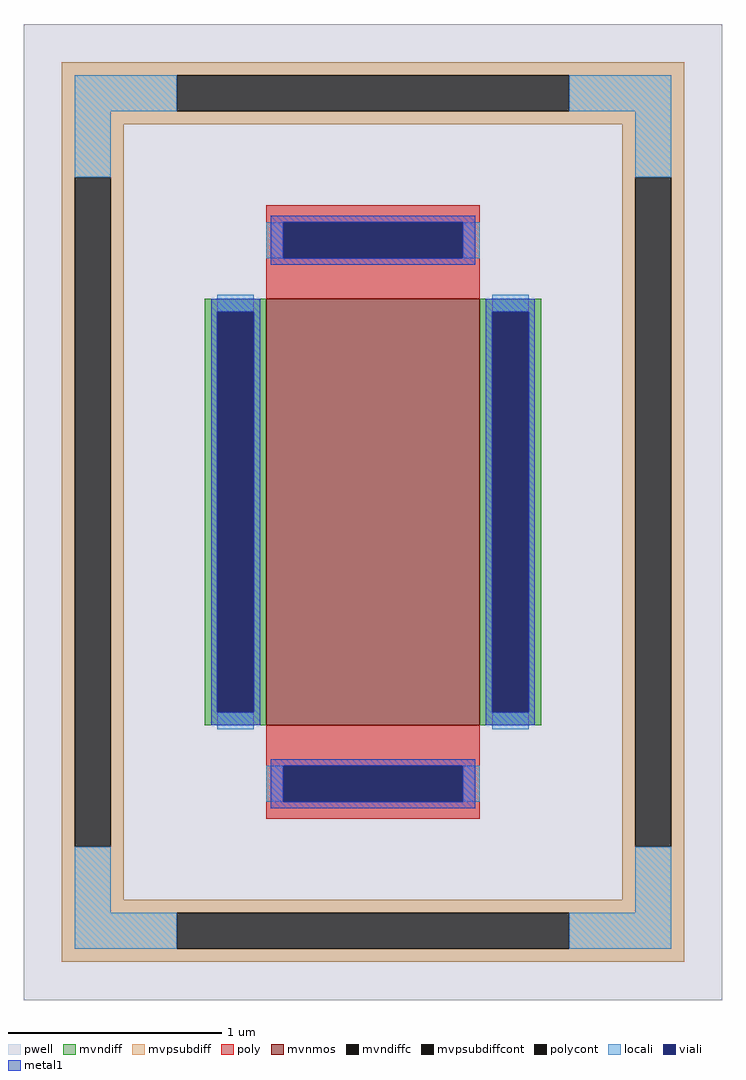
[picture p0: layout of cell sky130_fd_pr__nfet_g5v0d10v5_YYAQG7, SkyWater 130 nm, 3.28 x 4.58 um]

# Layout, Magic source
magic
tech sky130A
<< pwell >>
rect -164 -229 164 229
<< mvnmos >>
rect -50 -100 50 100
<< mvndiff >>
rect -79 94 -50 100
rect -79 -94 -73 94
rect -56 -94 -50 94
rect -79 -100 -50 -94
rect 50 94 79 100
rect 50 -94 56 94
rect 73 -94 79 94
rect 50 -100 79 -94
<< mvndiffc >>
rect -73 -94 -56 94
rect 56 -94 73 94
<< mvpsubdiff >>
rect -146 205 146 211
rect -146 188 -92 205
rect 92 188 146 205
rect -146 182 146 188
rect -146 157 -117 182
rect -146 -157 -140 157
rect -123 -157 -117 157
rect 117 157 146 182
rect -146 -182 -117 -157
rect 117 -157 123 157
rect 140 -157 146 157
rect 117 -182 146 -157
rect -146 -188 146 -182
rect -146 -205 -92 -188
rect 92 -205 146 -188
rect -146 -211 146 -205
<< mvpsubdiffcont >>
rect -92 188 92 205
rect -140 -157 -123 157
rect 123 -157 140 157
rect -92 -205 92 -188
<< poly >>
rect -50 136 50 144
rect -50 119 -42 136
rect 42 119 50 136
rect -50 100 50 119
rect -50 -119 50 -100
rect -50 -136 -42 -119
rect 42 -136 50 -119
rect -50 -144 50 -136
<< polycont >>
rect -42 119 42 136
rect -42 -136 42 -119
<< locali >>
rect -140 188 -92 205
rect 92 188 140 205
rect -140 157 -123 188
rect 123 157 140 188
rect -50 119 -42 136
rect 42 119 50 136
rect -73 94 -56 102
rect -73 -102 -56 -94
rect 56 94 73 102
rect 56 -102 73 -94
rect -50 -136 -42 -119
rect 42 -136 50 -119
rect -140 -188 -123 -157
rect 123 -188 140 -157
rect -140 -205 -92 -188
rect 92 -205 140 -188
<< viali >>
rect -42 119 42 136
rect -73 -94 -56 94
rect 56 -94 73 94
rect -42 -136 42 -119
<< metal1 >>
rect -48 136 48 139
rect -48 119 -42 136
rect 42 119 48 136
rect -48 116 48 119
rect -76 94 -53 100
rect -76 -94 -73 94
rect -56 -94 -53 94
rect -76 -100 -53 -94
rect 53 94 76 100
rect 53 -94 56 94
rect 73 -94 76 94
rect 53 -100 76 -94
rect -48 -119 48 -116
rect -48 -136 -42 -119
rect 42 -136 48 -119
rect -48 -139 48 -136
<< properties >>
string FIXED_BBOX -131 -196 131 196
string gencell sky130_fd_pr__nfet_g5v0d10v5
string library sky130
string parameters w 2.0 l 1.0 m 1 nf 1 diffcov 100 polycov 100 guard 1 glc 1 grc 1 gtc 1 gbc 1 tbcov 100 rlcov 100 topc 1 botc 1 poverlap 0 doverlap 1 lmin 0.50 wmin 0.42 compatible {sky130_fd_pr__nfet_01v8 sky130_fd_pr__nfet_01v8_lvt  sky130_fd_bs_flash__special_sonosfet_star  sky130_fd_pr__nfet_g5v0d10v5 sky130_fd_pr__nfet_05v0_nvt  sky130_fd_pr__nfet_03v3_nvt} full_metal 1 viasrc 100 viadrn 100 viagate 100 viagb 0 viagr 0 viagl 0 viagt 0
<< end >>
